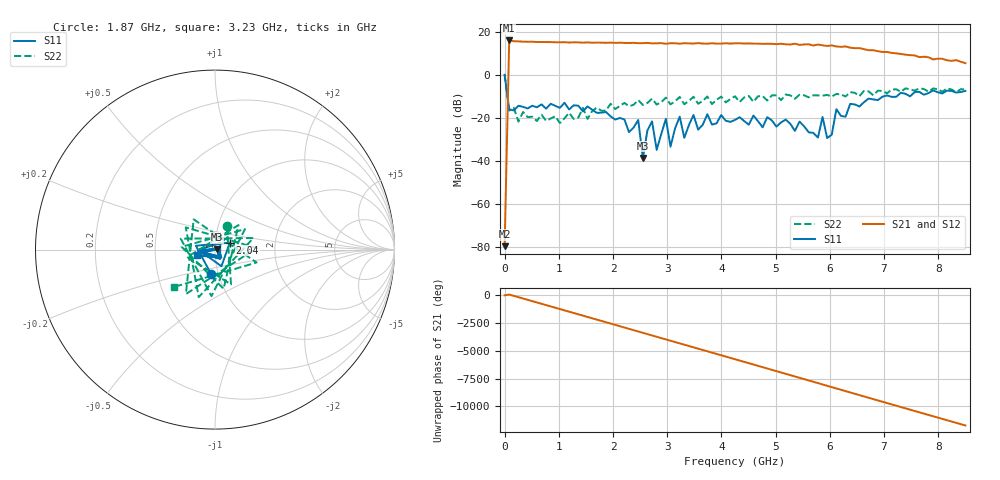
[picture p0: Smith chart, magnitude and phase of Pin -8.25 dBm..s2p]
! RsaToolbox (C) 2013 Rohde & Schwarz America
! Number of points: 101
! Number of ports: 2
! Balanced ports?: 0
# Hz S RI R 50
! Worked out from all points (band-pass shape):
!   101 points, 9 kHz to 8.5 GHz, reference 50 ohm
!   highest |S21| = 16.08 dB at 85.01 MHz (marker M1); lowest = -79.8 dB at 9 kHz (marker M2)
!   |S21| within 3 dB of the highest: 82.35 MHz to 6.323 GHz (6.24 GHz wide, 195 % of centre)
!   lowest |S11| = -38.7 dB at 2.55 GHz (marker M3), VSWR 1.02, Z = 51.2 + j0.0794 ohm
!   |S11| at or under -10 dB: 53.37 MHz to 6.988 GHz (6.934 GHz wide, 197 % of centre); 7.115 GHz to 7.232 GHz (117.2 MHz wide, 1.63 % of centre)
!   |S22| runs from -22.4 to 0.1 dB; largest |S21 - S12| = 0
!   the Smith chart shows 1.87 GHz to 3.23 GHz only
!   S11 on the Smith chart (normalised r, x): 1.87 GHz: 0.92, -0.26; 2.04 GHz: 1.18, +0.09; 3.23 GHz: 0.81, -0.05
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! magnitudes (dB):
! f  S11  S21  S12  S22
! 9 kHz  0.1  -79.8  -79.8  0.1
! 85.01 MHz  -16.0  16.1  16.1  -16.6
! 1.02 GHz  -15.3  15.2  15.2  -22.4
! 1.445 GHz  -17.0  15.1  15.1  -15.3
! 1.87 GHz  -17.2  15.0  15.0  -16.6
! 2.04 GHz  -20.8  14.9  14.9  -15.9
! 2.465 GHz  -21.0  14.8  14.8  -11.7
! 2.55 GHz  -38.7  14.8  14.8  -14.0
! 2.72 GHz  -21.6  14.7  14.7  -11.1
! 2.805 GHz  -34.9  14.8  14.8  -13.8
! 2.89 GHz  -27.5  14.8  14.8  -12.7
! 2.975 GHz  -20.4  14.5  14.5  -10.6
! 3.06 GHz  -33.4  14.8  14.8  -13.7
! 3.23 GHz  -19.4  14.6  14.6  -10.2
! 3.315 GHz  -29.3  14.8  14.8  -13.6
! 3.485 GHz  -18.6  14.6  14.6  -10.2
! 3.57 GHz  -25.5  14.9  14.9  -13.4
! 4.25 GHz  -20.9  14.8  14.8  -9.9
! 5.695 GHz  -27.0  13.7  13.7  -9.5
! 6.12 GHz  -15.9  13.3  13.3  -8.8
! 7.14 GHz  -10.2  10.3  10.3  -6.8
! 8.5 GHz  -7.4  5.5  5.5  -6.7
